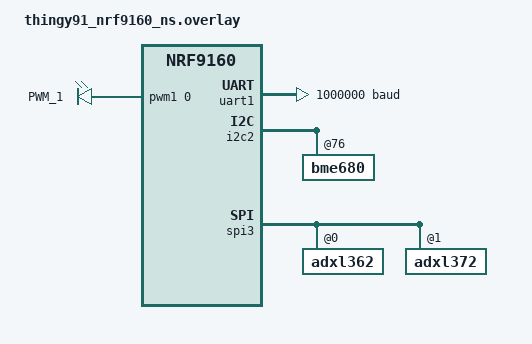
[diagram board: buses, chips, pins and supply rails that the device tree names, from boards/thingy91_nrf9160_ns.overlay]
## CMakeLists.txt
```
#
# Copyright (c) 2020 Nordic Semiconductor
#
# SPDX-License-Identifier: LicenseRef-Nordic-5-Clause
#

cmake_minimum_required(VERSION 3.20.0)

find_package(Zephyr REQUIRED HINTS $ENV{ZEPHYR_BASE})
project(aws_iot)

# NORDIC SDK APP START
target_sources(app PRIVATE src/main.c)
target_sources(app PRIVATE src/json_payload/json_payload.c)
target_sources(app PRIVATE ext_sensors/ext_sensors.c)
target_sources(app PRIVATE src/settings_defs/settings_defs.c)
# Add generated nanopb files
# NORDIC SDK APP END

zephyr_include_directories(src)
zephyr_include_directories(src/json_payload)
zephyr_include_directories(ext_sensors)
zephyr_include_directories(src/settings_defs)
#zephyr_include_directories(src/proto)

# Include generated nanopb files
zephyr_include_directories(${Protobuf_INCLUDE_DIRS})
nanopb_generate_cpp(proto_sources proto_headers RELPATH . src/data.proto)

# Include generated header files
zephyr_library_include_directories(${CMAKE_CURRENT_BINARY_DIR})

FILE(GLOB app_sources src/*.c)
target_sources(app PRIVATE ${proto_sources} ${app_sources})

# Make folder containing certificates global so that it can be located by
# the AWS IoT library.
zephyr_include_directories_ifdef(CONFIG_AWS_IOT_PROVISION_CERTIFICATES certs)

# if (CONFIG_SETTINGS_FCB OR CONFIG_SETTINGS_NVS)
#   ncs_add_partition_manager_config(pm.yml)
# endif()
```

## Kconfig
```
#
# Copyright (c) 2020 Nordic Semiconductor ASA
#
# SPDX-License-Identifier: LicenseRef-Nordic-5-Clause
#

menu "AWS IoT Sample Settings"

config AWS_IOT_SAMPLE_APP_VERSION
	string "Application version"
	default "v1.0.0"

config AWS_IOT_SAMPLE_JSON_MESSAGE_SIZE_MAX
	int "Maximum size of JSON messages"
	default 1000
	help
	  Maximum size of JSON messages that are sent to AWS IoT.

config AWS_IOT_SAMPLE_PUBLICATION_INTERVAL_SECONDS
	int "Interval in seconds that the sample will publish data"
	default 80

config AWS_IOT_SAMPLE_CONNECTION_RETRY_TIMEOUT_SECONDS
	int "Number of seconds between each AWS IoT connection retry"
	default 30

config AWS_IOT_SAMPLE_DEVICE_ID_USE_HW_ID
	bool "Use HW ID as device ID"
	select AWS_IOT_CLIENT_ID_APP
	depends on HW_ID_LIBRARY
	help
	  Use the devices's hardware ID as device ID when connecting to AWS IOT



module = AWS_IOT_SAMPLE
module-str = AWS IoT sample
source "${ZEPHYR_BASE}/subsys/logging/Kconfig.template.log_config"

module = EXTERNAL_SENSORS
module-str = External sensors
source "${ZEPHYR_BASE}/subsys/logging/Kconfig.template.log_config"

rsource "ext_sensors/Kconfig"

endmenu

menu "Zephyr Kernel"
source "Kconfig.zephyr"
endmenu
```

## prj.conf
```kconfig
#
# Copyright (c) 2020 Nordic Semiconductor ASA
#
# SPDX-License-Identifier: LicenseRef-Nordic-5-Clause
#

# General
CONFIG_LOG=y
CONFIG_LOG_BUFFER_SIZE=2048
CONFIG_HW_ID_LIBRARY=y
CONFIG_ASSERT=y
CONFIG_JSON_LIBRARY=y

# Heap and stacks
CONFIG_HEAP_MEM_POOL_SIZE=8192
CONFIG_MAIN_STACK_SIZE=4096
CONFIG_SYSTEM_WORKQUEUE_STACK_SIZE=2048

# Network
CONFIG_NETWORKING=y
CONFIG_NET_NATIVE=y
CONFIG_NET_IPV4=y
CONFIG_NET_CONNECTION_MANAGER=y

# AWS IoT library
CONFIG_AWS_IOT=y

# Fill in client id, broker host name and sec tag
CONFIG_AWS_IOT_CLIENT_ID_STATIC="Thingy01"
CONFIG_AWS_IOT_BROKER_HOST_NAME="a2aclgd4nh1dkk-ats.iot.eu-north-1.amazonaws.com"
CONFIG_AWS_IOT_SEC_TAG=955
CONFIG_AWS_IOT_APP_SUBSCRIPTION_LIST_COUNT=2
CONFIG_AWS_IOT_TOPIC_UPDATE_DELTA_SUBSCRIBE=y
CONFIG_AWS_IOT_TOPIC_GET_ACCEPTED_SUBSCRIBE=n
CONFIG_AWS_IOT_TOPIC_GET_REJECTED_SUBSCRIBE=n
CONFIG_AWS_IOT_LAST_WILL=y

# MQTT - Maximum MQTT keepalive timeout specified by AWS IoT Core
CONFIG_MQTT_KEEPALIVE=1200
CONFIG_MQTT_CLEAN_SESSION=y

CONFIG_AT_HOST_LIBRARY=y
CONFIG_LTE_CONNECTIVITY_LOG_LEVEL_DBG=y

# Suport for led, buttons and buzzer
CONFIG_DK_LIBRARY=y
CONFIG_PWM=y
CONFIG_PWM_CAPTURE=y

# Configuration related to external sensors.
CONFIG_SENSOR=y
CONFIG_SPI=y
CONFIG_STDOUT_CONSOLE=y
CONFIG_CBPRINTF_FP_SUPPORT=y

# ADXL362 - Low-Power accelerometer used for activity and inactivity detection.
CONFIG_ADXL362=y
CONFIG_ADXL362_TRIGGER_GLOBAL_THREAD=y
CONFIG_ADXL362_INTERRUPT_MODE=1
CONFIG_ADXL362_ABS_REF_MODE=1
CONFIG_ADXL362_ACCEL_RANGE_2G=y
CONFIG_ADXL362_ACCEL_ODR_400=y

# BME680 - Temperature and humidity sensor.
CONFIG_BME680=y

# CAF - Common Application Framework
CONFIG_PWM=y
CONFIG_LED=y
CONFIG_LED_PWM=y

# Disable MCUboot DFU -- incompatible with static partitions
CONFIG_SECURE_BOOT=n
CONFIG_BUILD_S1_VARIANT=n

CONFIG_EXTERNAL_SENSORS=y

# Settings - Used to store real-time device configuration to flash.
CONFIG_SETTINGS=y
CONFIG_SETTINGS_NVS=n
CONFIG_SETTINGS_FCB=y
CONFIG_FCB=y

# Flash - Used in FOTA, settings and storage for P-GPS.
CONFIG_FLASH=y
CONFIG_FLASH_PAGE_LAYOUT=n
CONFIG_FLASH_MAP=y
CONFIG_STREAM_FLASH=y
# CONFIG_MPU_ALLOW_FLASH_WRITE=y

#NVS
CONFIG_NVS=n
CONFIG_LOG_MODE_IMMEDIATE=y
CONFIG_NVS_LOG_LEVEL_DBG=n
CONFIG_REBOOT=y
CONFIG_MPU_ALLOW_FLASH_WRITE=y

# Protobuf
CONFIG_NANOPB=y

CONFIG_EXTERNAL_SENSORS_IMPACT_DETECTION=y
CONFIG_RTC=y

CONFIG_DATE_TIME=y
# CJson
CONFIG_CJSON_LIB=y
CONFIG_NEWLIB_LIBC=y
CONFIG_NEWLIB_LIBC_NANO=y
CONFIG_NEWLIB_LIBC_FLOAT_PRINTF=y
```

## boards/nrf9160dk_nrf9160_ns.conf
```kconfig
#
# Copyright (c) 2023 Nordic Semiconductor ASA
#
# SPDX-License-Identifier: LicenseRef-Nordic-5-Clause
#

# Configuration file for nRF9160 DK
# This file is merged with prj.conf in the application folder, and options
# set here will take precedence if they are present in both files.

# General
CONFIG_HW_STACK_PROTECTION=y
CONFIG_HW_ID_LIBRARY_SOURCE_IMEI=y
CONFIG_PICOLIBC=y

# Modem related configurations
CONFIG_MODEM_INFO=y
CONFIG_AT_HOST_LIBRARY=y
CONFIG_NRF_MODEM_LIB_NET_IF_AUTO_START=n
CONFIG_NRF_MODEM_LIB_ON_FAULT_APPLICATION_SPECIFIC=y

# Disable Duplicate Address Detection (DAD)
# due to not being properly implemented for offloaded interfaces.
CONFIG_NET_IPV6_NBR_CACHE=n
CONFIG_NET_IPV6_MLD=n

# Zephyr NET Connection Manager and Connectivity layer.
CONFIG_NET_CONNECTION_MANAGER_MONITOR_STACK_SIZE=1024
CONFIG_LTE_CONNECTIVITY=y
CONFIG_LTE_CONNECTIVITY_AUTO_DOWN=n

# Bootloader and FOTA related configurations

# MCUBOOT
CONFIG_BOOTLOADER_MCUBOOT=y
CONFIG_MCUBOOT_IMG_MANAGER=y

# Image manager
CONFIG_IMG_MANAGER=y
CONFIG_STREAM_FLASH=y
CONFIG_FLASH_MAP=y
CONFIG_FLASH=y
CONFIG_IMG_ERASE_PROGRESSIVELY=y

# AWS FOTA
CONFIG_AWS_FOTA=y
CONFIG_FOTA_DOWNLOAD=y
CONFIG_DFU_TARGET=y

# Download client (needed by AWS FOTA)
CONFIG_DOWNLOAD_CLIENT=y
CONFIG_DOWNLOAD_CLIENT_STACK_SIZE=4096
```

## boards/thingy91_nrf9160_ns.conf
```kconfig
#
# Copyright (c) 2023 Nordic Semiconductor ASA
#
# SPDX-License-Identifier: LicenseRef-Nordic-5-Clause
#

# Configuration file for Thingy:91
# This file is merged with prj.conf in the application folder, and options
# set here will take precedence if they are present in both files.

# General
CONFIG_HW_STACK_PROTECTION=y
CONFIG_HW_ID_LIBRARY_SOURCE_IMEI=y
CONFIG_PICOLIBC=y

# Modem related configurations
CONFIG_MODEM_INFO=y
CONFIG_AT_HOST_LIBRARY=y
CONFIG_NRF_MODEM_LIB_NET_IF_AUTO_START=n
CONFIG_NRF_MODEM_LIB_ON_FAULT_APPLICATION_SPECIFIC=y

# Modem trace
CONFIG_NRF_MODEM_LIB_TRACE=y
CONFIG_NRF_MODEM_LIB_TRACE_BACKEND_UART=y
CONFIG_NRF_MODEM_LIB_TRACE_BACKEND_UART_ZEPHYR=y
CONFIG_SERIAL=y
CONFIG_UART_ASYNC_API=y
CONFIG_UART_1_ASYNC=y
CONFIG_UART_1_INTERRUPT_DRIVEN=n

# Disable Duplicate Address Detection (DAD)
# due to not being properly implemented for offloaded interfaces.
CONFIG_NET_IPV6_NBR_CACHE=n
CONFIG_NET_IPV6_MLD=n

# Zephyr NET Connection Manager and Connectivity layer.
CONFIG_NET_CONNECTION_MANAGER_MONITOR_STACK_SIZE=1024
CONFIG_LTE_CONNECTIVITY=y
CONFIG_LTE_CONNECTIVITY_AUTO_DOWN=n

# Bootloader and FOTA related configurations

# MCUBOOT
CONFIG_BOOTLOADER_MCUBOOT=y
CONFIG_MCUBOOT_IMG_MANAGER=n

# Image manager
CONFIG_IMG_MANAGER=n
# CONFIG_STREAM_FLASH=y
# CONFIG_FLASH_MAP=y
# CONFIG_FLASH=y
CONFIG_IMG_ERASE_PROGRESSIVELY=n

# AWS FOTA
CONFIG_AWS_FOTA=n
CONFIG_FOTA_DOWNLOAD=n
CONFIG_DFU_TARGET=n

# Download client (needed by AWS FOTA)
CONFIG_DOWNLOAD_CLIENT=n
```

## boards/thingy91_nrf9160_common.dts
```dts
&pwm1 {
    status = "okay";
    pinctrl-0 = <&pwm1_default>;
    pinctrl-1 = <&pwm1_sleep>;
    pinctrl-names = "default", "sleep";

};
```

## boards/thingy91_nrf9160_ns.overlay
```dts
/*
 * Copyright (c) 2023 Nordic Semiconductor ASA
 *
 * SPDX-License-Identifier: LicenseRef-Nordic-5-Clause
 */

/* Enable uart1 for tracing. */
&uart1 {
	status = "okay";
	current-speed = <1000000>;
	hw-flow-control;
};

/ {
	chosen {
		nordic,modem-trace-uart = &uart1;
	};

	/* ... */
	/* These aliases are provided for compatibility with samples */
	aliases {
		/* ... */
		sw0 = &button0;
	};
};

/ {
	aliases {
		temp-sensor = &bme680;
		humidity-sensor = &bme680;
		pressure-sensor = &bme680;
		iaq-sensor = &bme680;
		accelerometer = &adxl362;
		impact-sensor = &adxl372;
		buzzer-pwn = &buzzer;
	};
	pwmbuzzer {
		compatible = "pwm-leds";
		status = "okay";

		buzzer: buzzer_pwm {
			pwms = <&pwm1 0 PWM_HZ(880) PWM_POLARITY_NORMAL>;
			label = "PWM_1";
		};
	};
};

&i2c2 {
	bme680: bme680@76 {};
};

&spi3 {
	adxl362: adxl362@0 {
		autosleep;
	};

	adxl372: adxl372@1 {
		odr = <4>;
		bw = <4>;
		hpf = <0>;
	};
};
```

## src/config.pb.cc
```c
// Generated by the protocol buffer compiler.  DO NOT EDIT!
// source: config.proto
// Protobuf C++ Version: 5.26.1

#include "config.pb.h"

#include <algorithm>
#include "google/protobuf/io/coded_stream.h"
#include "google/protobuf/extension_set.h"
#include "google/protobuf/wire_format_lite.h"
#include "google/protobuf/descriptor.h"
#include "google/protobuf/generated_message_reflection.h"
#include "google/protobuf/reflection_ops.h"
#include "google/protobuf/wire_format.h"
#include "google/protobuf/generated_message_tctable_impl.h"
// @@protoc_insertion_point(includes)

// Must be included last.
#include "google/protobuf/port_def.inc"
PROTOBUF_PRAGMA_INIT_SEG
namespace _pb = ::google::protobuf;
namespace _pbi = ::google::protobuf::internal;
namespace _fl = ::google::protobuf::internal::field_layout;

inline constexpr Config::Impl_::Impl_(
    ::_pbi::ConstantInitialized) noexcept
      : timestamp_{0},
        id_{0},
        side_{0},
        type_{static_cast< ::Type >(0)},
        _cached_size_{0} {}

template <typename>
PROTOBUF_CONSTEXPR Config::Config(::_pbi::ConstantInitialized)
    : _impl_(::_pbi::ConstantInitialized()) {}
struct ConfigDefaultTypeInternal {
  PROTOBUF_CONSTEXPR ConfigDefaultTypeInternal() : _instance(::_pbi::ConstantInitialized{}) {}
  ~ConfigDefaultTypeInternal() {}
  union {
    Config _instance;
  };
};

PROTOBUF_ATTRIBUTE_NO_DESTROY PROTOBUF_CONSTINIT
    PROTOBUF_ATTRIBUTE_INIT_PRIORITY1 ConfigDefaultTypeInternal _Config_default_instance_;
static ::_pb::Metadata file_level_metadata_config_2eproto[1];
static const ::_pb::EnumDescriptor* file_level_enum_descriptors_config_2eproto[1];
static constexpr const ::_pb::ServiceDescriptor**
    file_level_service_descriptors_config_2eproto = nullptr;
const ::uint32_t
    TableStruct_config_2eproto::offsets[] ABSL_ATTRIBUTE_SECTION_VARIABLE(
        protodesc_cold) = {
        ~0u,  // no _has_bits_
        PROTOBUF_FIELD_OFFSET(::Config, _internal_metadata_),
        ~0u,  // no _extensions_
        ~0u,  // no _oneof_case_
        ~0u,  // no _weak_field_map_
        ~0u,  // no _inlined_string_donated_
        ~0u,  // no _split_
        ~0u,  // no sizeof(Split)
        PROTOBUF_FIELD_OFFSET(::Config, _impl_.timestamp_),
        PROTOBUF_FIELD_OFFSET(::Config, _impl_.id_),
        PROTOBUF_FIELD_OFFSET(::Config, _impl_.side_),
        PROTOBUF_FIELD_OFFSET(::Config, _impl_.type_),
};

static const ::_pbi::MigrationSchema
    schemas[] ABSL_ATTRIBUTE_SECTION_VARIABLE(protodesc_cold) = {
        {0, -1, -1, sizeof(::Config)},
};
static const ::_pb::Message* const file_default_instances[] = {
    &::_Config_default_instance_._instance,
};
const char descriptor_table_protodef_config_2eproto[] ABSL_ATTRIBUTE_SECTION_VARIABLE(
    protodesc_cold) = {
    "\n\014config.proto\"J\n\006Config\022\021\n\ttimestamp\030\001 "
    "\001(\005\022\n\n\002id\030\002 \001(\005\022\014\n\004side\030\003 \001(\005\022\023\n\004type\030\004 "
    "\001(\0162\005.Type*.\n\004Type\022\021\n\rERROR_INVALID\020\000\022\t\n"
    "\005COUNT\020\001\022\010\n\004TIME\020\002b\006proto3"
};
static ::absl::once_flag descriptor_table_config_2eproto_once;
const ::_pbi::DescriptorTable descriptor_table_config_2eproto = {
    false,
    false,
    146,
    descriptor_table_protodef_config_2eproto,
    "config.proto",
    &descriptor_table_config_2eproto_once,
    nullptr,
    0,
    1,
    schemas,
    file_default_instances,
    TableStruct_config_2eproto::offsets,
    file_level_metadata_config_2eproto,
    file_level_enum_descriptors_config_2eproto,
    file_level_service_descriptors_config_2eproto,
};

// This function exists to be marked as weak.
// It can significantly speed up compilation by breaking up LLVM's SCC
// in the .pb.cc translation units. Large translation units see a
// reduction of more than 35% of walltime for optimized builds. Without
// the weak attribute all the messages in the file, including all the
// vtables and everything they use become part of the same SCC through
// a cycle like:
// GetMetadata -> descriptor table -> default instances ->
//   vtables -> GetMetadata
// By adding a weak function here we break the connection from the
// individual vtables back into the descriptor table.
PROTOBUF_ATTRIBUTE_WEAK const ::_pbi::DescriptorTable* descriptor_table_config_2eproto_getter() {
  return &descriptor_table_config_2eproto;
}
const ::google::protobuf::EnumDescriptor* Type_descriptor() {
  ::google::protobuf::internal::AssignDescriptors(&descriptor_table_config_2eproto);
  return file_level_enum_descriptors_config_2eproto[0];
}
PROTOBUF_CONSTINIT const uint32_t Type_internal_data_[] = {
    196608u, 0u, };
bool Type_IsValid(int value) {
  return 0 <= value && value <= 2;
}
// ===================================================================

class Config::_Internal {
 public:
};

Config::Config(::google::protobuf::Arena* arena)
    : ::google::protobuf::Message(arena) {
  SharedCtor(arena);
  // @@protoc_insertion_point(arena_constructor:Config)
}
Config::Config(
    ::google::protobuf::Arena* arena, const Config& from)
    : Config(arena) {
  MergeFrom(from);
}
inline PROTOBUF_NDEBUG_INLINE Config::Impl_::Impl_(
    ::google::protobuf::internal::InternalVisibility visibility,
    ::google::protobuf::Arena* arena)
      : _cached_size_{0} {}

inline void Config::SharedCtor(::_pb::Arena* arena) {
  new (&_impl_) Impl_(internal_visibility(), arena);
  ::memset(reinterpret_cast<char *>(&_impl_) +
               offsetof(Impl_, timestamp_),
           0,
           offsetof(Impl_, type_) -
               offsetof(Impl_, timestamp_) +
               sizeof(Impl_::type_));
}
Config::~Config() {
  // @@protoc_insertion_point(destructor:Config)
  _internal_metadata_.Delete<::google::protobuf::UnknownFieldSet>();
  SharedDtor();
}
inline void Config::SharedDtor() {
  ABSL_DCHECK(GetArena() == nullptr);
  _impl_.~Impl_();
}

const ::google::protobuf::MessageLite::ClassData*
Config::GetClassData() const {
  PROTOBUF_CONSTINIT static const ::google::protobuf::MessageLite::
      ClassDataFull _data_ = {
          {
              nullptr,  // OnDemandRegisterArenaDtor
              PROTOBUF_FIELD_OFFSET(Config, _impl_._cached_size_),
              false,
          },
          &Config::MergeImpl,
          &Config::kDescriptorMethods,
      };
  return &_data_;
}
PROTOBUF_NOINLINE void Config::Clear() {
// @@protoc_insertion_point(message_clear_start:Config)
  PROTOBUF_TSAN_WRITE(&_impl_._tsan_detect_race);
  ::uint32_t cached_has_bits = 0;
  // Prevent compiler warnings about cached_has_bits being unused
  (void) cached_has_bits;

  ::memset(&_impl_.timestamp_, 0, static_cast<::size_t>(
      reinterpret_cast<char*>(&_impl_.type_) -
      reinterpret_cast<char*>(&_impl_.timestamp_)) + sizeof(_impl_.type_));
  _internal_metadata_.Clear<::google::protobuf::UnknownFieldSet>();
}

const char* Config::_InternalParse(
    const char* ptr, ::_pbi::ParseContext* ctx) {
  ptr = ::_pbi::TcParser::ParseLoop(this, ptr, ctx, &_table_.header);
  return ptr;
}


PROTOBUF_CONSTINIT PROTOBUF_ATTRIBUTE_INIT_PRIORITY1
const ::_pbi::TcParseTable<2, 4, 0, 0, 2> Config::_table_ = {
  {
    0,  // no _has_bits_
    0, // no _extensions_
    4, 24,  // max_field_number, fast_idx_mask
    offsetof(decltype(_table_), field_lookup_table),
    4294967280,  // skipmap
    offsetof(decltype(_table_), field_entries),
    4,  // num_field_entries
    0,  // num_aux_entries
    offsetof(decltype(_table_), field_names),  // no aux_entries
    &_Config_default_instance_._instance,
    ::_pbi::TcParser::GenericFallback,  // fallback
    #ifdef PROTOBUF_PREFETCH_PARSE_TABLE
    ::_pbi::TcParser::GetTable<::Config>(),  // to_prefetch
    #endif  // PROTOBUF_PREFETCH_PARSE_TABLE
  }, {{
    // .Type type = 4;
    {::_pbi::TcParser::SingularVarintNoZag1<::uint32_t, offsetof(Config, _impl_.type_), 63>(),
     {32, 63, 0, PROTOBUF_FIELD_OFFSET(Config, _impl_.type_)}},
    // int32 timestamp = 1;
    {::_pbi::TcParser::SingularVarintNoZag1<::uint32_t, offsetof(Config, _impl_.timestamp_), 63>(),
     {8, 63, 0, PROTOBUF_FIELD_OFFSET(Config, _impl_.timestamp_)}},
    // int32 id = 2;
    {::_pbi::TcParser::SingularVarintNoZag1<::uint32_t, offsetof(Config, _impl_.id_), 63>(),
     {16, 63, 0, PROTOBUF_FIELD_OFFSET(Config, _impl_.id_)}},
    // int32 side = 3;
    {::_pbi::TcParser::SingularVarintNoZag1<::uint32_t, offsetof(Config, _impl_.side_), 63>(),
     {24, 63, 0, PROTOBUF_FIELD_OFFSET(Config, _impl_.side_)}},
  }}, {{
    65535, 65535
  }}, {{
    // int32 timestamp = 1;
    {PROTOBUF_FIELD_OFFSET(Config, _impl_.timestamp_), 0, 0,
    (0 | ::_fl::kFcSingular | ::_fl::kInt32)},
    // int32 id = 2;
    {PROTOBUF_FIELD_OFFSET(Config, _impl_.id_), 0, 0,
    (0 | ::_fl::kFcSingular | ::_fl::kInt32)},
    // int32 side = 3;
    {PROTOBUF_FIELD_OFFSET(Config, _impl_.side_), 0, 0,
    (0 | ::_fl::kFcSingular | ::_fl::kInt32)},
    // .Type type = 4;
    {PROTOBUF_FIELD_OFFSET(Config, _impl_.type_), 0, 0,
    (0 | ::_fl::kFcSingular | ::_fl::kOpenEnum)},
  }},
  // no aux_entries
  {{
  }},
};

::uint8_t* Config::_InternalSerialize(
    ::uint8_t* target,
    ::google::protobuf::io::EpsCopyOutputStream* stream) const {
  // @@protoc_insertion_point(serialize_to_array_start:Config)
  ::uint32_t cached_has_bits = 0;
  (void)cached_has_bits;

  // int32 timestamp = 1;
  if (this->_internal_timestamp() != 0) {
    target = ::google::protobuf::internal::WireFormatLite::
        WriteInt32ToArrayWithField<1>(
            stream, this->_internal_timestamp(), target);
  }

  // int32 id = 2;
  if (this->_internal_id() != 0) {
    target = ::google::protobuf::internal::WireFormatLite::
        WriteInt32ToArrayWithField<2>(
            stream, this->_internal_id(), target);
  }

  // int32 side = 3;
  if (this->_internal_side() != 0) {
    target = ::google::protobuf::internal::WireFormatLite::
        WriteInt32ToArrayWithField<3>(
            stream, this->_internal_side(), target);
  }

  // .Type type = 4;
  if (this->_internal_type() != 0) {
    target = stream->EnsureSpace(target);
    target = ::_pbi::WireFormatLite::WriteEnumToArray(
        4, this->_internal_type(), target);
  }

  if (PROTOBUF_PREDICT_FALSE(_internal_metadata_.have_unknown_fields())) {
    target =
        ::_pbi::WireFormat::InternalSerializeUnknownFieldsToArray(
            _internal_metadata_.unknown_fields<::google::protobuf::UnknownFieldSet>(::google::protobuf::UnknownFieldSet::default_instance), target, stream);
  }
  // @@protoc_insertion_point(serialize_to_array_end:Config)
  return target;
}

::size_t Config::ByteSizeLong() const {
// @@protoc_insertion_point(message_byte_size_start:Config)
  ::size_t total_size = 0;

  ::uint32_t cached_has_bits = 0;
  // Prevent compiler warnings about cached_has_bits being unused
  (void) cached_has_bits;

  // int32 timestamp = 1;
  if (this->_internal_timestamp() != 0) {
    total_size += ::_pbi::WireFormatLite::Int32SizePlusOne(
        this->_internal_timestamp());
  }

  // int32 id = 2;
  if (this->_internal_id() != 0) {
    total_size += ::_pbi::WireFormatLite::Int32SizePlusOne(
        this->_internal_id());
  }

  // int32 side = 3;
  if (this->_internal_side() != 0) {
    total_size += ::_pbi::WireFormatLite::Int32SizePlusOne(
        this->_internal_side());
  }

  // .Type type = 4;
  if (this->_internal_type() != 0) {
    total_size += 1 +
                  ::_pbi::WireFormatLite::EnumSize(this->_internal_type());
  }

  return MaybeComputeUnknownFieldsSize(total_size, &_impl_._cached_size_);
}


void Config::MergeImpl(::google::protobuf::MessageLite& to_msg, const ::google::protobuf::MessageLite& from_msg) {
  auto* const _this = static_cast<Config*>(&to_msg);
  auto& from = static_cast<const Config&>(from_msg);
  // @@protoc_insertion_point(class_specific_merge_from_start:Config)
  ABSL_DCHECK_NE(&from, _this);
  ::uint32_t cached_has_bits = 0;
  (void) cached_has_bits;

  if (from._internal_timestamp() != 0) {
    _this->_impl_.timestamp_ = from._impl_.timestamp_;
  }
  if (from._internal_id() != 0) {
    _this->_impl_.id_ = from._impl_.id_;
  }
  if (from._internal_side() != 0) {
    _this->_impl_.side_ = from._impl_.side_;
  }
  if (from._internal_type() != 0) {
    _this->_impl_.type_ = from._impl_.type_;
  }
  _this->_internal_metadata_.MergeFrom<::google::protobuf::UnknownFieldSet>(from._internal_metadata_);
}

void Config::CopyFrom(const Config& from) {
// @@protoc_insertion_point(class_specific_copy_from_start:Config)
  if (&from == this) return;
  Clear();
  MergeFrom(from);
}

PROTOBUF_NOINLINE bool Config::IsInitialized() const {
  return true;
}

void Config::InternalSwap(Config* PROTOBUF_RESTRICT other) {
  using std::swap;
  _internal_metadata_.InternalSwap(&other->_internal_metadata_);
  ::google::protobuf::internal::memswap<
      PROTOBUF_FIELD_OFFSET(Config, _impl_.type_)
      + sizeof(Config::_impl_.type_)
      - PROTOBUF_FIELD_OFFSET(Config, _impl_.timestamp_)>(
          reinterpret_cast<char*>(&_impl_.timestamp_),
          reinterpret_cast<char*>(&other->_impl_.timestamp_));
}

::google::protobuf::Metadata Config::GetMetadata() const {
  return ::_pbi::AssignDescriptors(&descriptor_table_config_2eproto_getter,
                                   &descriptor_table_config_2eproto_once,
                                   file_level_metadata_config_2eproto[0]);
}
// @@protoc_insertion_point(namespace_scope)
namespace google {
namespace protobuf {
}  // namespace protobuf
}  // namespace google
// @@protoc_insertion_point(global_scope)
PROTOBUF_ATTRIBUTE_INIT_PRIORITY2
static ::std::false_type _static_init_ PROTOBUF_UNUSED =
    (::_pbi::AddDescriptors(&descriptor_table_config_2eproto),
     ::std::false_type{});
#include "google/protobuf/port_undef.inc"
```

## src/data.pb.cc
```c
// Generated by the protocol buffer compiler.  DO NOT EDIT!
// source: data.proto
// Protobuf C++ Version: 5.26.1

#include "data.pb.h"

#include <algorithm>
#include "google/protobuf/io/coded_stream.h"
#include "google/protobuf/extension_set.h"
#include "google/protobuf/wire_format_lite.h"
#include "google/protobuf/descriptor.h"
#include "google/protobuf/generated_message_reflection.h"
#include "google/protobuf/reflection_ops.h"
#include "google/protobuf/wire_format.h"
#include "google/protobuf/generated_message_tctable_impl.h"
// @@protoc_insertion_point(includes)

// Must be included last.
#include "google/protobuf/port_def.inc"
PROTOBUF_PRAGMA_INIT_SEG
namespace _pb = ::google::protobuf;
namespace _pbi = ::google::protobuf::internal;
namespace _fl = ::google::protobuf::internal::field_layout;

inline constexpr habit_data::Impl_::Impl_(
    ::_pbi::ConstantInitialized) noexcept
      : habit_id_(
            &::google::protobuf::internal::fixed_address_empty_string,
            ::_pbi::ConstantInitialized()),
        device_timestamp_{0},
        data_{0},
        start_timestamp_{0},
        stop_timestamp_{0},
        _cached_size_{0} {}

template <typename>
PROTOBUF_CONSTEXPR habit_data::habit_data(::_pbi::ConstantInitialized)
    : _impl_(::_pbi::ConstantInitialized()) {}
struct habit_dataDefaultTypeInternal {
  PROTOBUF_CONSTEXPR habit_dataDefaultTypeInternal() : _instance(::_pbi::ConstantInitialized{}) {}
  ~habit_dataDefaultTypeInternal() {}
  union {
    habit_data _instance;
  };
};

PROTOBUF_ATTRIBUTE_NO_DESTROY PROTOBUF_CONSTINIT
    PROTOBUF_ATTRIBUTE_INIT_PRIORITY1 habit_dataDefaultTypeInternal _habit_data_default_instance_;
static ::_pb::Metadata file_level_metadata_data_2eproto[1];
static constexpr const ::_pb::EnumDescriptor**
    file_level_enum_descriptors_data_2eproto = nullptr;
static constexpr const ::_pb::ServiceDescriptor**
    file_level_service_descriptors_data_2eproto = nullptr;
const ::uint32_t
    TableStruct_data_2eproto::offsets[] ABSL_ATTRIBUTE_SECTION_VARIABLE(
        protodesc_cold) = {
        ~0u,  // no _has_bits_
        PROTOBUF_FIELD_OFFSET(::habit_data, _internal_metadata_),
        ~0u,  // no _extensions_
        ~0u,  // no _oneof_case_
        ~0u,  // no _weak_field_map_
        ~0u,  // no _inlined_string_donated_
        ~0u,  // no _split_
        ~0u,  // no sizeof(Split)
        PROTOBUF_FIELD_OFFSET(::habit_data, _impl_.device_timestamp_),
        PROTOBUF_FIELD_OFFSET(::habit_data, _impl_.habit_id_),
        PROTOBUF_FIELD_OFFSET(::habit_data, _impl_.data_),
        PROTOBUF_FIELD_OFFSET(::habit_data, _impl_.start_timestamp_),
        PROTOBUF_FIELD_OFFSET(::habit_data, _impl_.stop_timestamp_),
};

static const ::_pbi::MigrationSchema
    schemas[] ABSL_ATTRIBUTE_SECTION_VARIABLE(protodesc_cold) = {
        {0, -1, -1, sizeof(::habit_data)},
};
static const ::_pb::Message* const file_default_instances[] = {
    &::_habit_data_default_instance_._instance,
};
const char descriptor_table_protodef_data_2eproto[] ABSL_ATTRIBUTE_SECTION_VARIABLE(
    protodesc_cold) = {
    "\n\ndata.proto\"w\n\nhabit_data\022\030\n\020device_tim"
    "estamp\030\001 \001(\005\022\020\n\010habit_id\030\002 \001(\t\022\014\n\004data\030\003"
    " \001(\005\022\027\n\017start_timestamp\030\004 \001(\005\022\026\n\016stop_ti"
    "mestamp\030\005 \001(\005b\006proto3"
};
static ::absl::once_flag descriptor_table_data_2eproto_once;
const ::_pbi::DescriptorTable descriptor_table_data_2eproto = {
    false,
    false,
    141,
    descriptor_table_protodef_data_2eproto,
    "data.proto",
    &descriptor_table_data_2eproto_once,
    nullptr,
    0,
    1,
    schemas,
    file_default_instances,
    TableStruct_data_2eproto::offsets,
    file_level_metadata_data_2eproto,
    file_level_enum_descriptors_data_2eproto,
    file_level_service_descriptors_data_2eproto,
};

// This function exists to be marked as weak.
// It can significantly speed up compilation by breaking up LLVM's SCC
// in the .pb.cc translation units. Large translation units see a
// reduction of more than 35% of walltime for optimized builds. Without
// the weak attribute all the messages in the file, including all the
// vtables and everything they use become part of the same SCC through
// a cycle like:
// GetMetadata -> descriptor table -> default instances ->
//   vtables -> GetMetadata
// By adding a weak function here we break the connection from the
// individual vtables back into the descriptor table.
PROTOBUF_ATTRIBUTE_WEAK const ::_pbi::DescriptorTable* descriptor_table_data_2eproto_getter() {
  return &descriptor_table_data_2eproto;
}
// ===================================================================

class habit_data::_Internal {
 public:
};

habit_data::habit_data(::google::protobuf::Arena* arena)
    : ::google::protobuf::Message(arena) {
  SharedCtor(arena);
  // @@protoc_insertion_point(arena_constructor:habit_data)
}
inline PROTOBUF_NDEBUG_INLINE habit_data::Impl_::Impl_(
    ::google::protobuf::internal::InternalVisibility visibility, ::google::protobuf::Arena* arena,
    const Impl_& from)
      : habit_id_(arena, from.habit_id_),
        _cached_size_{0} {}

habit_data::habit_data(
    ::google::protobuf::Arena* arena,
    const habit_data& from)
    : ::google::protobuf::Message(arena) {
  habit_data* const _this = this;
  (void)_this;
  _internal_metadata_.MergeFrom<::google::protobuf::UnknownFieldSet>(
      from._internal_metadata_);
  new (&_impl_) Impl_(internal_visibility(), arena, from._impl_);
  ::memcpy(reinterpret_cast<char *>(&_impl_) +
               offsetof(Impl_, device_timestamp_),
           reinterpret_cast<const char *>(&from._impl_) +
               offsetof(Impl_, device_timestamp_),
           offsetof(Impl_, stop_timestamp_) -
               offsetof(Impl_, device_timestamp_) +
               sizeof(Impl_::stop_timestamp_));

  // @@protoc_insertion_point(copy_constructor:habit_data)
}
inline PROTOBUF_NDEBUG_INLINE habit_data::Impl_::Impl_(
    ::google::protobuf::internal::InternalVisibility visibility,
    ::google::protobuf::Arena* arena)
      : habit_id_(arena),
        _cached_size_{0} {}

inline void habit_data::SharedCtor(::_pb::Arena* arena) {
  new (&_impl_) Impl_(internal_visibility(), arena);
  ::memset(reinterpret_cast<char *>(&_impl_) +
               offsetof(Impl_, device_timestamp_),
           0,
           offsetof(Impl_, stop_timestamp_) -
               offsetof(Impl_, device_timestamp_) +
               sizeof(Impl_::stop_timestamp_));
}
habit_data::~habit_data() {
  // @@protoc_insertion_point(destructor:habit_data)
  _internal_metadata_.Delete<::google::protobuf::UnknownFieldSet>();
  SharedDtor();
}
inline void habit_data::SharedDtor() {
  ABSL_DCHECK(GetArena() == nullptr);
  _impl_.habit_id_.Destroy();
  _impl_.~Impl_();
}

const ::google::protobuf::MessageLite::ClassData*
habit_data::GetClassData() const {
  PROTOBUF_CONSTINIT static const ::google::protobuf::MessageLite::
      ClassDataFull _data_ = {
          {
              nullptr,  // OnDemandRegisterArenaDtor
              PROTOBUF_FIELD_OFFSET(habit_data, _impl_._cached_size_),
              false,
          },
          &habit_data::MergeImpl,
          &habit_data::kDescriptorMethods,
      };
  return &_data_;
}
PROTOBUF_NOINLINE void habit_data::Clear() {
// @@protoc_insertion_point(message_clear_start:habit_data)
  PROTOBUF_TSAN_WRITE(&_impl_._tsan_detect_race);
  ::uint32_t cached_has_bits = 0;
  // Prevent compiler warnings about cached_has_bits being unused
  (void) cached_has_bits;

  _impl_.habit_id_.ClearToEmpty();
  ::memset(&_impl_.device_timestamp_, 0, static_cast<::size_t>(
      reinterpret_cast<char*>(&_impl_.stop_timestamp_) -
      reinterpret_cast<char*>(&_impl_.device_timestamp_)) + sizeof(_impl_.stop_timestamp_));
  _internal_metadata_.Clear<::google::protobuf::UnknownFieldSet>();
}

const char* habit_data::_InternalParse(
    const char* ptr, ::_pbi::ParseContext* ctx) {
  ptr = ::_pbi::TcParser::ParseLoop(this, ptr, ctx, &_table_.header);
  return ptr;
}


PROTOBUF_CONSTINIT PROTOBUF_ATTRIBUTE_INIT_PRIORITY1
const ::_pbi::TcParseTable<3, 5, 0, 27, 2> habit_data::_table_ = {
  {
    0,  // no _has_bits_
    0, // no _extensions_
    5, 56,  // max_field_number, fast_idx_mask
    offsetof(decltype(_table_), field_lookup_table),
    4294967264,  // skipmap
    offsetof(decltype(_table_), field_entries),
    5,  // num_field_entries
    0,  // num_aux_entries
    offsetof(decltype(_table_), field_names),  // no aux_entries
    &_habit_data_default_instance_._instance,
    ::_pbi::TcParser::GenericFallback,  // fallback
    #ifdef PROTOBUF_PREFETCH_PARSE_TABLE
    ::_pbi::TcParser::GetTable<::habit_data>(),  // to_prefetch
    #endif  // PROTOBUF_PREFETCH_PARSE_TABLE
  }, {{
    {::_pbi::TcParser::MiniParse, {}},
    // int32 device_timestamp = 1;
    {::_pbi::TcParser::SingularVarintNoZag1<::uint32_t, offsetof(habit_data, _impl_.device_timestamp_), 63>(),
     {8, 63, 0, PROTOBUF_FIELD_OFFSET(habit_data, _impl_.device_timestamp_)}},
    // string habit_id = 2;
    {::_pbi::TcParser::FastUS1,
     {18, 63, 0, PROTOBUF_FIELD_OFFSET(habit_data, _impl_.habit_id_)}},
    // int32 data = 3;
    {::_pbi::TcParser::SingularVarintNoZag1<::uint32_t, offsetof(habit_data, _impl_.data_), 63>(),
     {24, 63, 0, PROTOBUF_FIELD_OFFSET(habit_data, _impl_.data_)}},
    // int32 start_timestamp = 4;
    {::_pbi::TcParser::SingularVarintNoZag1<::uint32_t, offsetof(habit_data, _impl_.start_timestamp_), 63>(),
     {32, 63, 0, PROTOBUF_FIELD_OFFSET(habit_data, _impl_.start_timestamp_)}},
    // int32 stop_timestamp = 5;
    {::_pbi::TcParser::SingularVarintNoZag1<::uint32_t, offsetof(habit_data, _impl_.stop_timestamp_), 63>(),
     {40, 63, 0, PROTOBUF_FIELD_OFFSET(habit_data, _impl_.stop_timestamp_)}},
    {::_pbi::TcParser::MiniParse, {}},
    {::_pbi::TcParser::MiniParse, {}},
  }}, {{
    65535, 65535
  }}, {{
    // int32 device_timestamp = 1;
    {PROTOBUF_FIELD_OFFSET(habit_data, _impl_.device_timestamp_), 0, 0,
    (0 | ::_fl::kFcSingular | ::_fl::kInt32)},
    // string habit_id = 2;
    {PROTOBUF_FIELD_OFFSET(habit_data, _impl_.habit_id_), 0, 0,
    (0 | ::_fl::kFcSingular | ::_fl::kUtf8String | ::_fl::kRepAString)},
    // int32 data = 3;
    {PROTOBUF_FIELD_OFFSET(habit_data, _impl_.data_), 0, 0,
    (0 | ::_fl::kFcSingular | ::_fl::kInt32)},
    // int32 start_timestamp = 4;
    {PROTOBUF_FIELD_OFFSET(habit_data, _impl_.start_timestamp_), 0, 0,
    (0 | ::_fl::kFcSingular | ::_fl::kInt32)},
    // int32 stop_timestamp = 5;
    {PROTOBUF_FIELD_OFFSET(habit_data, _impl_.stop_timestamp_), 0, 0,
    (0 | ::_fl::kFcSingular | ::_fl::kInt32)},
  }},
  // no aux_entries
  {{
    "\12\0\10\0\0\0\0\0"
    "habit_data"
    "habit_id"
  }},
};

::uint8_t* habit_data::_InternalSerialize(
    ::uint8_t* target,
    ::google::protobuf::io::EpsCopyOutputStream* stream) const {
  // @@protoc_insertion_point(serialize_to_array_start:habit_data)
  ::uint32_t cached_has_bits = 0;
  (void)cached_has_bits;

  // int32 device_timestamp = 1;
  if (this->_internal_device_timestamp() != 0) {
    target = ::google::protobuf::internal::WireFormatLite::
        WriteInt32ToArrayWithField<1>(
            stream, this->_internal_device_timestamp(), target);
  }

  // string habit_id = 2;
  if (!this->_internal_habit_id().empty()) {
    const std::string& _s = this->_internal_habit_id();
    ::google::protobuf::internal::WireFormatLite::VerifyUtf8String(
        _s.data(), static_cast<int>(_s.length()), ::google::protobuf::internal::WireFormatLite::SERIALIZE, "habit_data.habit_id");
    target = stream->WriteStringMaybeAliased(2, _s, target);
  }

  // int32 data = 3;
  if (this->_internal_data() != 0) {
    target = ::google::protobuf::internal::WireFormatLite::
        WriteInt32ToArrayWithField<3>(
            stream, this->_internal_data(), target);
  }

  // int32 start_timestamp = 4;
  if (this->_internal_start_timestamp() != 0) {
    target = ::google::protobuf::internal::WireFormatLite::
        WriteInt32ToArrayWithField<4>(
            stream, this->_internal_start_timestamp(), target);
  }

  // int32 stop_timestamp = 5;
  if (this->_internal_stop_timestamp() != 0) {
    target = ::google::protobuf::internal::WireFormatLite::
        WriteInt32ToArrayWithField<5>(
            stream, this->_internal_stop_timestamp(), target);
  }

  if (PROTOBUF_PREDICT_FALSE(_internal_metadata_.have_unknown_fields())) {
    target =
        ::_pbi::WireFormat::InternalSerializeUnknownFieldsToArray(
            _internal_metadata_.unknown_fields<::google::protobuf::UnknownFieldSet>(::google::protobuf::UnknownFieldSet::default_instance), target, stream);
  }
  // @@protoc_insertion_point(serialize_to_array_end:habit_data)
  return target;
}

::size_t habit_data::ByteSizeLong() const {
// @@protoc_insertion_point(message_byte_size_start:habit_data)
  ::size_t total_size = 0;

  ::uint32_t cached_has_bits = 0;
  // Prevent compiler warnings about cached_has_bits being unused
  (void) cached_has_bits;

  // string habit_id = 2;
  if (!this->_internal_habit_id().empty()) {
    total_size += 1 + ::google::protobuf::internal::WireFormatLite::StringSize(
                                    this->_internal_habit_id());
  }

  // int32 device_timestamp = 1;
  if (this->_internal_device_timestamp() != 0) {
    total_size += ::_pbi::WireFormatLite::Int32SizePlusOne(
        this->_internal_device_timestamp());
  }

  // int32 data = 3;
  if (this->_internal_data() != 0) {
    total_size += ::_pbi::WireFormatLite::Int32SizePlusOne(
        this->_internal_data());
  }

  // int32 start_timestamp = 4;
  if (this->_internal_start_timestamp() != 0) {
    total_size += ::_pbi::WireFormatLite::Int32SizePlusOne(
        this->_internal_start_timestamp());
  }

  // int32 stop_timestamp = 5;
  if (this->_internal_stop_timestamp() != 0) {
    total_size += ::_pbi::WireFormatLite::Int32SizePlusOne(
        this->_internal_stop_timestamp());
  }

  return MaybeComputeUnknownFieldsSize(total_size, &_impl_._cached_size_);
}


void habit_data::MergeImpl(::google::protobuf::MessageLite& to_msg, const ::google::protobuf::MessageLite& from_msg) {
  auto* const _this = static_cast<habit_data*>(&to_msg);
  auto& from = static_cast<const habit_data&>(from_msg);
  // @@protoc_insertion_point(class_specific_merge_from_start:habit_data)
  ABSL_DCHECK_NE(&from, _this);
  ::uint32_t cached_has_bits = 0;
  (void) cached_has_bits;

  if (!from._internal_habit_id().empty()) {
    _this->_internal_set_habit_id(from._internal_habit_id());
  }
  if (from._internal_device_timestamp() != 0) {
    _this->_impl_.device_timestamp_ = from._impl_.device_timestamp_;
  }
  if (from._internal_data() != 0) {
    _this->_impl_.data_ = from._impl_.data_;
  }
  if (from._internal_start_timestamp() != 0) {
    _this->_impl_.start_timestamp_ = from._impl_.start_timestamp_;
  }
  if (from._internal_stop_timestamp() != 0) {
    _this->_impl_.stop_timestamp_ = from._impl_.stop_timestamp_;
  }
  _this->_internal_metadata_.MergeFrom<::google::protobuf::UnknownFieldSet>(from._internal_metadata_);
}

void habit_data::CopyFrom(const habit_data& from) {
// @@protoc_insertion_point(class_specific_copy_from_start:habit_data)
  if (&from == this) return;
  Clear();
  MergeFrom(from);
}

PROTOBUF_NOINLINE bool habit_data::IsInitialized() const {
  return true;
}

void habit_data::InternalSwap(habit_data* PROTOBUF_RESTRICT other) {
  using std::swap;
  auto* arena = GetArena();
  ABSL_DCHECK_EQ(arena, other->GetArena());
  _internal_metadata_.InternalSwap(&other->_internal_metadata_);
  ::_pbi::ArenaStringPtr::InternalSwap(&_impl_.habit_id_, &other->_impl_.habit_id_, arena);
  ::google::protobuf::internal::memswap<
      PROTOBUF_FIELD_OFFSET(habit_data, _impl_.stop_timestamp_)
      + sizeof(habit_data::_impl_.stop_timestamp_)
      - PROTOBUF_FIELD_OFFSET(habit_data, _impl_.device_timestamp_)>(
          reinterpret_cast<char*>(&_impl_.device_timestamp_),
          reinterpret_cast<char*>(&other->_impl_.device_timestamp_));
}

::google::protobuf::Metadata habit_data::GetMetadata() const {
  return ::_pbi::AssignDescriptors(&descriptor_table_data_2eproto_getter,
                                   &descriptor_table_data_2eproto_once,
                                   file_level_metadata_data_2eproto[0]);
}
// @@protoc_insertion_point(namespace_scope)
namespace google {
namespace protobuf {
}  // namespace protobuf
}  // namespace google
// @@protoc_insertion_point(global_scope)
PROTOBUF_ATTRIBUTE_INIT_PRIORITY2
static ::std::false_type _static_init_ PROTOBUF_UNUSED =
    (::_pbi::AddDescriptors(&descriptor_table_data_2eproto),
     ::std::false_type{});
#include "google/protobuf/port_undef.inc"
```

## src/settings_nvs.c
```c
/*
 * Copyright (c) 2019 Laczen
 * Copyright (c) 2019 Nordic Semiconductor ASA
 *
 * SPDX-License-Identifier: Apache-2.0
 */

#include <errno.h>
#include <string.h>

#include <zephyr/settings/settings.h>
#include "settings_nvs.h"
#include <zephyr/sys/crc.h>
#include <zephyr/settings/subsys/settings_priv.h>
#include <zephyr/storage/flash_map.h>

#include <zephyr/logging/log.h>
LOG_MODULE_DECLARE(settings, CONFIG_SETTINGS_LOG_LEVEL);

#if DT_HAS_CHOSEN(zephyr_settings_partition)
#define SETTINGS_PARTITION DT_FIXED_PARTITION_ID(DT_CHOSEN(zephyr_settings_partition))
#else
#define SETTINGS_PARTITION FIXED_PARTITION_ID(storage_partition)
#endif

struct settings_nvs_read_fn_arg {
	struct nvs_fs *fs;
	uint16_t id;
};

static int settings_nvs_load(struct settings_store *cs,
			     const struct settings_load_arg *arg);
static int settings_nvs_save(struct settings_store *cs, const char *name,
			     const char *value, size_t val_len);
static void *settings_nvs_storage_get(struct settings_store *cs);

static struct settings_store_itf settings_nvs_itf = {
	.csi_load = settings_nvs_load,
	.csi_save = settings_nvs_save,
	.csi_storage_get = settings_nvs_storage_get
};

static ssize_t settings_nvs_read_fn(void *back_end, void *data, size_t len)
{
	struct settings_nvs_read_fn_arg *rd_fn_arg;
	ssize_t rc;

	rd_fn_arg = (struct settings_nvs_read_fn_arg *)back_end;

	rc = nvs_read(rd_fn_arg->fs, rd_fn_arg->id, data, len);
	if (rc > (ssize_t)len) {
		/* nvs_read signals that not all bytes were read
		 * align read len to what was requested
		 */
		rc = len;
	}
	return rc;
}

int settings_nvs_src(struct settings_nvs *cf)
{
	cf->cf_store.cs_itf = &settings_nvs_itf;
	settings_src_register(&cf->cf_store);

	return 0;
}

int settings_nvs_dst(struct settings_nvs *cf)
{
	cf->cf_store.cs_itf = &settings_nvs_itf;
	settings_dst_register(&cf->cf_store);

	return 0;
}

#if CONFIG_SETTINGS_NVS_NAME_CACHE
#define SETTINGS_NVS_CACHE_OVFL(cf) ((cf)->cache_total > ARRAY_SIZE((cf)->cache))

static void settings_nvs_cache_add(struct settings_nvs *cf, const char *name,
				   uint16_t name_id)
{
	uint16_t name_hash = crc16_ccitt(0xffff, name, strlen(name));

	cf->cache[cf->cache_next].name_hash = name_hash;
	cf->cache[cf->cache_next++].name_id = name_id;

	cf->cache_next %= CONFIG_SETTINGS_NVS_NAME_CACHE_SIZE;
}

static uint16_t settings_nvs_cache_match(struct settings_nvs *cf, const char *name,
					 char *rdname, size_t len)
{
	uint16_t name_hash = crc16_ccitt(0xffff, name, strlen(name));
	int rc;

	for (int i = 0; i < CONFIG_SETTINGS_NVS_NAME_CACHE_SIZE; i++) {
		if (cf->cache[i].name_hash != name_hash) {
			continue;
		}

		if (cf->cache[i].name_id <= NVS_NAMECNT_ID) {
			continue;
		}

		rc = nvs_read(&cf->cf_nvs, cf->cache[i].name_id, rdname, len);
		if (rc < 0) {
			continue;
		}

		rdname[rc] = '\0';

		if (strcmp(name, rdname)) {
			continue;
		}

		return cf->cache[i].name_id;
	}

	return NVS_NAMECNT_ID;
}
#endif /* CONFIG_SETTINGS_NVS_NAME_CACHE */

static int settings_nvs_load(struct settings_store *cs,
			     const struct settings_load_arg *arg)
{
	int ret = 0;
	struct settings_nvs *cf = CONTAINER_OF(cs, struct settings_nvs, cf_store);
	struct settings_nvs_read_fn_arg read_fn_arg;
	char name[SETTINGS_MAX_NAME_LEN + SETTINGS_EXTRA_LEN + 1];
	char buf;
	ssize_t rc1, rc2;
	uint16_t name_id = NVS_NAMECNT_ID;

#if CONFIG_SETTINGS_NVS_NAME_CACHE
	uint16_t cached = 0;

	cf->loaded = false;
#endif

	name_id = cf->last_name_id + 1;

	while (1) {

		name_id--;
		if (name_id == NVS_NAMECNT_ID) {
#if CONFIG_SETTINGS_NVS_NAME_CACHE
			cf->loaded = true;
			cf->cache_total = cached;
#endif
			break;
		}

		/* In the NVS backend, each setting item is stored in two NVS
		 * entries one for the setting's name and one with the
		 * setting's value.
		 */
		rc1 = nvs_read(&cf->cf_nvs, name_id, &name, sizeof(name));
		rc2 = nvs_read(&cf->cf_nvs, name_id + NVS_NAME_ID_OFFSET,
			       &buf, sizeof(buf));

		if ((rc1 <= 0) && (rc2 <= 0)) {
			/* Settings largest ID in use is invalid due to
			 * reset, power failure or partition overflow.
			 * Decrement it and check the next ID in subsequent
			 * iteration.
			 */
			if (name_id == cf->last_name_id) {
				cf->last_name_id--;
				nvs_write(&cf->cf_nvs, NVS_NAMECNT_ID,
					  &cf->last_name_id, sizeof(uint16_t));
			}

			continue;
		}

		if ((rc1 <= 0) || (rc2 <= 0)) {
			/* Settings item is not stored correctly in the NVS.
			 * NVS entry for its name or value is either missing
			 * or deleted. Clean dirty entries to make space for
			 * future settings item.
			 */
			nvs_delete(&cf->cf_nvs, name_id);
			nvs_delete(&cf->cf_nvs, name_id + NVS_NAME_ID_OFFSET);

			if (name_id == cf->last_name_id) {
				cf->last_name_id--;
				nvs_write(&cf->cf_nvs, NVS_NAMECNT_ID,
					  &cf->last_name_id, sizeof(uint16_t));
			}

			continue;
		}

		/* Found a name, this might not include a trailing \0 */
		name[rc1] = '\0';
		read_fn_arg.fs = &cf->cf_nvs;
		read_fn_arg.id = name_id + NVS_NAME_ID_OFFSET;

#if CONFIG_SETTINGS_NVS_NAME_CACHE
		settings_nvs_cache_add(cf, name, name_id);
		cached++;
#endif

		ret = settings_call_set_handler(
			name, rc2,
			settings_nvs_read_fn, &read_fn_arg,
			(void *)arg);
		if (ret) {
			break;
		}
	}
	return ret;
}

static int settings_nvs_save(struct settings_store *cs, const char *name,
			     const char *value, size_t val_len)
{
	struct settings_nvs *cf = CONTAINER_OF(cs, struct settings_nvs, cf_store);
	char rdname[SETTINGS_MAX_NAME_LEN + SETTINGS_EXTRA_LEN + 1];
	uint16_t name_id, write_name_id;
	bool delete, write_name;
	int rc = 0;

	if (!name) {
		return -EINVAL;
	}

	/* Find out if we are doing a delete */
	delete = ((value == NULL) || (val_len == 0));

#if CONFIG_SETTINGS_NVS_NAME_CACHE
	bool name_in_cache = false;

	name_id = settings_nvs_cache_match(cf, name, rdname, sizeof(rdname));
	if (name_id != NVS_NAMECNT_ID) {
		write_name_id = name_id;
		write_name = false;
		name_in_cache = true;
		goto found;
	}
#endif

	name_id = cf->last_name_id + 1;
	write_name_id = cf->last_name_id + 1;
	write_name = true;

#if CONFIG_SETTINGS_NVS_NAME_CACHE
	/* We can skip reading NVS if we know that the cache wasn't overflowed. */
	if (cf->loaded && !SETTINGS_NVS_CACHE_OVFL(cf)) {
		goto found;
	}
#endif

	while (1) {
		name_id--;
		if (name_id == NVS_NAMECNT_ID) {
			break;
		}

		rc = nvs_read(&cf->cf_nvs, name_id, &rdname, sizeof(rdname));

		if (rc < 0) {
			/* Error or entry not found */
			if (rc == -ENOENT) {
				write_name_id = name_id;
			}
			continue;
		}

		rdname[rc] = '\0';

		if (strcmp(name, rdname)) {
			continue;
		}

		if (!delete) {
			write_name_id = name_id;
			write_name = false;
		}

		goto found;
	}

found:
	if (delete) {
		if (name_id == NVS_NAMECNT_ID) {
			return 0;
		}

		rc = nvs_delete(&cf->cf_nvs, name_id);
		if (rc >= 0) {
			rc = nvs_delete(&cf->cf_nvs, name_id +
					NVS_NAME_ID_OFFSET);
		}

		if (rc < 0) {
			return rc;
		}

		if (name_id == cf->last_name_id) {
			cf->last_name_id--;
			rc = nvs_write(&cf->cf_nvs, NVS_NAMECNT_ID,
				       &cf->last_name_id, sizeof(uint16_t));
			if (rc < 0) {
				/* Error: can't to store
				 * the largest name ID in use.
				 */
				return rc;
			}
		}

		return 0;
	}

	/* No free IDs left. */
	if (write_name_id == NVS_NAMECNT_ID + NVS_NAME_ID_OFFSET) {
		return -ENOMEM;
	}

	/* update the last_name_id and write to flash if required*/
	if (write_name_id > cf->last_name_id) {
		cf->last_name_id = write_name_id;
		rc = nvs_write(&cf->cf_nvs, NVS_NAMECNT_ID, &cf->last_name_id,
			       sizeof(uint16_t));
		if (rc < 0) {
			return rc;
		}
	}

	/* write the value */
	rc = nvs_write(&cf->cf_nvs, write_name_id + NVS_NAME_ID_OFFSET,
		       value, val_len);
	if (rc < 0) {
		return rc;
	}

	/* write the name if required */
	if (write_name) {
		rc = nvs_write(&cf->cf_nvs, write_name_id, name, strlen(name));
		if (rc < 0) {
			return rc;
		}
	}

#if CONFIG_SETTINGS_NVS_NAME_CACHE
	if (!name_in_cache) {
		settings_nvs_cache_add(cf, name, write_name_id);
		if (cf->loaded && !SETTINGS_NVS_CACHE_OVFL(cf)) {
			cf->cache_total++;
		}
	}
#endif

	return 0;
}

/* Initialize the nvs backend. */
int settings_nvs_backend_init(struct settings_nvs *cf)
{
	int rc;
	uint16_t last_name_id;

	cf->cf_nvs.flash_device = cf->flash_dev;
	if (cf->cf_nvs.flash_device == NULL) {
		return -ENODEV;
	}

	rc = nvs_mount(&cf->cf_nvs);
	if (rc) {
		return rc;
	}

	rc = nvs_read(&cf->cf_nvs, NVS_NAMECNT_ID, &last_name_id,
		      sizeof(last_name_id));
	if (rc < 0) {
		cf->last_name_id = NVS_NAMECNT_ID;
	} else {
		cf->last_name_id = last_name_id;
	}

	LOG_DBG("Initialized");
	return 0;
}

int settings_backend_init(void)
{
	static struct settings_nvs default_settings_nvs;
	int rc;
	uint16_t cnt = 0;
	size_t nvs_sector_size, nvs_size = 0;
	const struct flash_area *fa;
	struct flash_sector hw_flash_sector;
	uint32_t sector_cnt = 1;

	rc = flash_area_open(SETTINGS_PARTITION, &fa);
	if (rc) {
		return rc;
	}

	rc = flash_area_get_sectors(SETTINGS_PARTITION, &sector_cnt,
				    &hw_flash_sector);
	if (rc != 0 && rc != -ENOMEM) {
		return rc;
	}

	nvs_sector_size = CONFIG_SETTINGS_NVS_SECTOR_SIZE_MULT *
			  hw_flash_sector.fs_size;

	if (nvs_sector_size > UINT16_MAX) {
		return -EDOM;
	}

	while (cnt < CONFIG_SETTINGS_NVS_SECTOR_COUNT) {
		nvs_size += nvs_sector_size;
		if (nvs_size > fa->fa_size) {
			break;
		}
		cnt++;
	}

	/* define the nvs file system using the page_info */
	default_settings_nvs.cf_nvs.sector_size = nvs_sector_size;
	default_settings_nvs.cf_nvs.sector_count = cnt;
	default_settings_nvs.cf_nvs.offset = fa->fa_off;
	default_settings_nvs.flash_dev = fa->fa_dev;

	rc = settings_nvs_backend_init(&default_settings_nvs);
	if (rc) {
		return rc;
	}

	rc = settings_nvs_src(&default_settings_nvs);

	if (rc) {
		return rc;
	}

	rc = settings_nvs_dst(&default_settings_nvs);

	return rc;
}

static void *settings_nvs_storage_get(struct settings_store *cs)
{
	struct settings_nvs *cf = CONTAINER_OF(cs, struct settings_nvs, cf_store);

	return &cf->cf_nvs;
}
```
